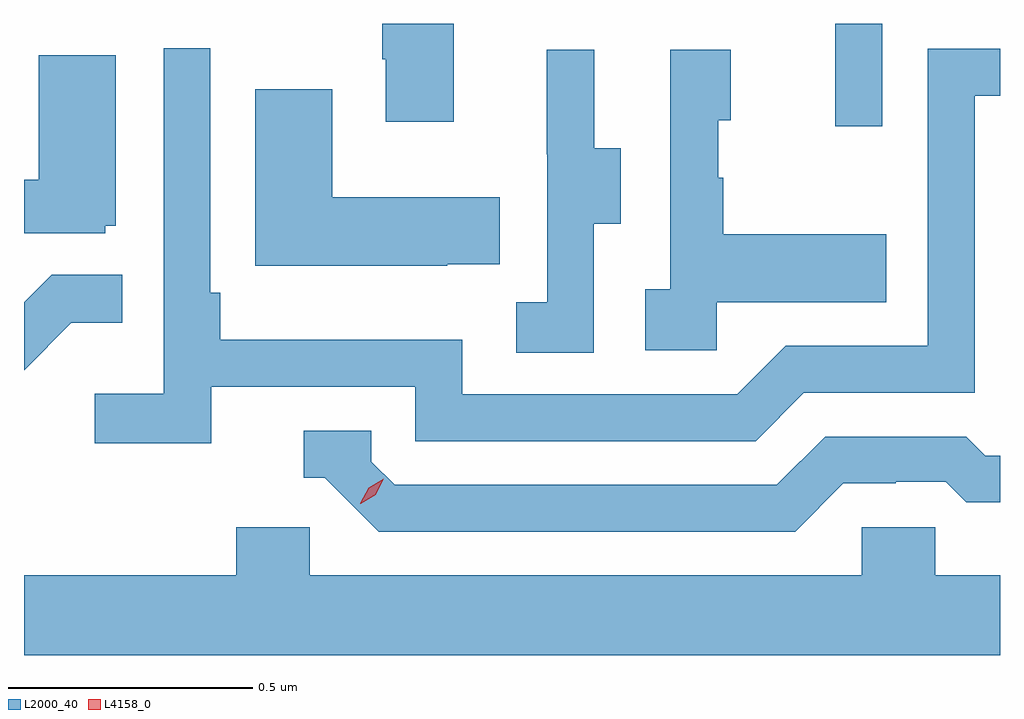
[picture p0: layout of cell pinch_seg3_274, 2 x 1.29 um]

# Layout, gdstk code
import gdstk
lib = gdstk.Library(unit=1e-6, precision=1e-09)
def R(c, l, rs):  # rectangles x0, y0, x1, y1
    for r in rs: c.add(gdstk.rectangle(r[:2], r[2:], *l))
def P(c, l, *ps):  # polygons
    for p in ps: c.add(gdstk.Polygon(p, *l))
L2000_40 = (2000, 40)
L4158_0 = (4158, 0)

pinch_seg3_274 = lib.new_cell('pinch_seg3_274')
R(pinch_seg3_274, L2000_40, [(903.794,717.984,903.891,718.194)])
P(pinch_seg3_274, L2000_40, [(903.013,718.194),(902.866,718.194),(902.866,718.121),(902.873,718.121),(902.873,717.993),(903.013,717.993)],
  [(902.516,717.45),(902.934,717.45),(902.934,717.339),(903.631,717.339),(903.73,717.438),(904.08,717.438),(904.08,718.047),(904.132,718.047),(904.132,718.143),(903.984,718.143),(903.984,717.534),(903.693,717.534),(903.594,717.435),(903.03,717.435),(903.03,717.547),(902.534,717.547),(902.534,717.643),(902.514,717.643),(902.514,718.144),(902.418,718.144),(902.418,717.436),(902.277,717.436),(902.277,717.334),(902.516,717.334)],
  [(903.3,717.784),(903.355,717.784),(903.355,717.939),(903.301,717.939),(903.301,718.141),(903.203,718.141),(903.203,717.927),(903.204,717.927),(903.204,717.623),(903.141,717.623),(903.141,717.52),(903.3,717.52)],
  [(903.552,717.623),(903.899,717.623),(903.899,717.763),(903.565,717.763),(903.565,717.878),(903.555,717.878),(903.555,717.996),(903.58,717.996),(903.58,718.141),(903.456,718.141),(903.456,717.65),(903.405,717.65),(903.405,717.525),(903.552,717.525)],
  [(902.298,717.78),(902.32,717.78),(902.32,718.129),(902.162,718.129),(902.162,717.874),(902.132,717.874),(902.132,717.765),(902.298,717.765)],
  [(902.999,717.701),(903.107,717.701),(903.107,717.838),(902.764,717.838),(902.764,718.06),(902.606,718.06),(902.606,717.698),(902.999,717.698)],
  [(902.229,717.581),(902.333,717.581),(902.333,717.68),(902.189,717.68),(902.132,717.623),(902.132,717.484)],
  [(903.811,717.252),(903.918,717.252),(903.918,717.255),(904.021,717.255),(904.063,717.213),(904.132,717.213),(904.132,717.309),(904.102,717.309),(904.063,717.348),(903.774,717.348),(903.675,717.249),(902.892,717.249),(902.844,717.297),(902.844,717.36),(902.705,717.36),(902.705,717.264),(902.748,717.264),(902.859,717.153),(903.712,717.153)],
  [(904.132,717.064),(903.999,717.064),(903.999,717.162),(903.849,717.162),(903.849,717.064),(902.718,717.064),(902.718,717.162),(902.567,717.162),(902.567,717.064),(902.132,717.064),(902.132,716.9),(904.132,716.9)])
P(pinch_seg3_274, L4158_0, [(902.821,717.21),(902.821,717.211),(902.838,717.243),(902.869,717.262),(902.869,717.262),(902.869,717.262),(902.853,717.229),(902.822,717.21)])

lib.write_gds('pinch_seg3_274.gds')
